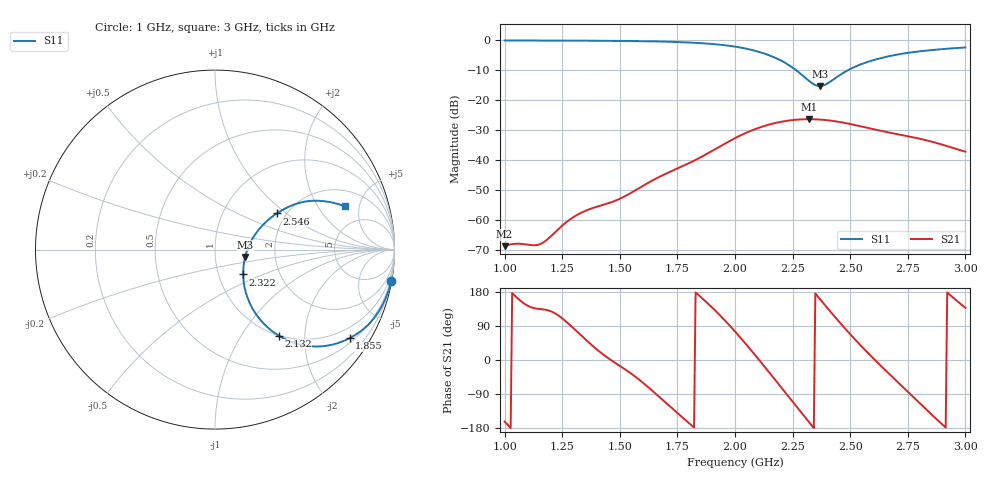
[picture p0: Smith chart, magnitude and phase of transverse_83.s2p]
! TOUCHSTONE file generated by CST MICROWAVE STUDIO
! Date and time: Tue Mar 11 13:56:34 2025
! Project name: transverse.cst
! Parameters = {Fracture=1; B=10; D=160; F=5; Feed=2.85625; L=100; M=30; R=0.384908; S=2; Theta=90; length=57.125; wave=114.25}
! Header version: 2024
! Port assignment regex: !\s*Touchstone port\s*([0-9]+)\s*=\s*(CST MWS port|CST DES external port|CST DES block port)\s*(.+)\s* \(\"(.*)\"\)(\s*mode\s*([0-9]+))?.*
! Touchstone port assignment:
! Touchstone port 1 = CST MWS port 1 ("")
! Touchstone port 2 = CST MWS port 2 ("")
# GHz S MA R 50
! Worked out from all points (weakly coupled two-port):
!   305 points, 1 GHz to 3 GHz, reference 50 ohm
!   highest |S21| = -26.29 dB at 2.322 GHz (marker M1); lowest = -68.7 dB at 1 GHz (marker M2)
!   lowest |S11| = -15.2 dB at 2.368 GHz (marker M3), VSWR 1.42, Z = 69.9 - j5.83 ohm
!   |S11| at or under -10 dB: 2.266 GHz to 2.489 GHz (222.8 MHz wide, 9.37 % of centre)
!   S12 and S22 are empty: the file has one direction only
!   S11 on the Smith chart (normalised r, x): 1 GHz: 0, -11; 1.855 GHz: 0.64, -3.22; 2.132 GHz: 1.00, -1.48; 2.322 GHz: 1.31, -0.38; 2.546 GHz: 1.79, +0.86; 3 GHz: 3.12, +3.58
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1  0.9977 -10.0  0.0003685 -162.4  0 0.0  0 0.0
1.04605  0.9969 -10.6  0.0004037 168.6  0 0.0  0 0.0
1.125  0.9957 -11.8  0.0003814 137.2  0 0.0  0 0.0
1.15789  0.9951 -12.3  0.0004045 134.3  0 0.0  0 0.0
1.18421  0.9946 -12.7  0.0004723 131.9  0 0.0  0 0.0
1.26974  0.9921 -14.2  0.0009374 99.9  0 0.0  0 0.0
1.33553  0.9894 -15.4  0.001349 63.0  0 0.0  0 0.0
1.5  0.9801 -19.2  0.002276 -15.5  0 0.0  0 0.0
1.67105  0.9586 -24.7  0.005272 -97.4  0 0.0  0 0.0
1.85526  0.8974 -33.4  0.01145 164.2  0 0.0  0 0.0
2  0.7876 -43.3  0.02339 75.3  0 0.0  0 0.0
2.13158  0.5953 -53.5  0.03777 -19.9  0 0.0  0 0.0
2.23026  0.3945 -57.6  0.04586 -94.9  0 0.0  0 0.0
2.32237  0.2094 -41.4  0.04848 -164.8  0 0.0  0 0.0
2.33553  0.1921 -34.9  0.04841 -174.6  0 0.0  0 0.0
2.36842  0.1729 -13.5  0.04778 160.9  0 0.0  0 0.0
2.39474  0.1849 3.3  0.04683 141.7  0 0.0  0 0.0
2.45395  0.2624 23.9  0.04355 99.6  0 0.0  0 0.0
2.54605  0.3985 30.4  0.03686 38.1  0 0.0  0 0.0
2.67105  0.5472 28.7  0.02891 -37.7  0 0.0  0 0.0
2.83553  0.6792 23.2  0.0213 -133.7  0 0.0  0 0.0
3  0.7623 18.4  0.01389 137.7  0 0.0  0 0.0
